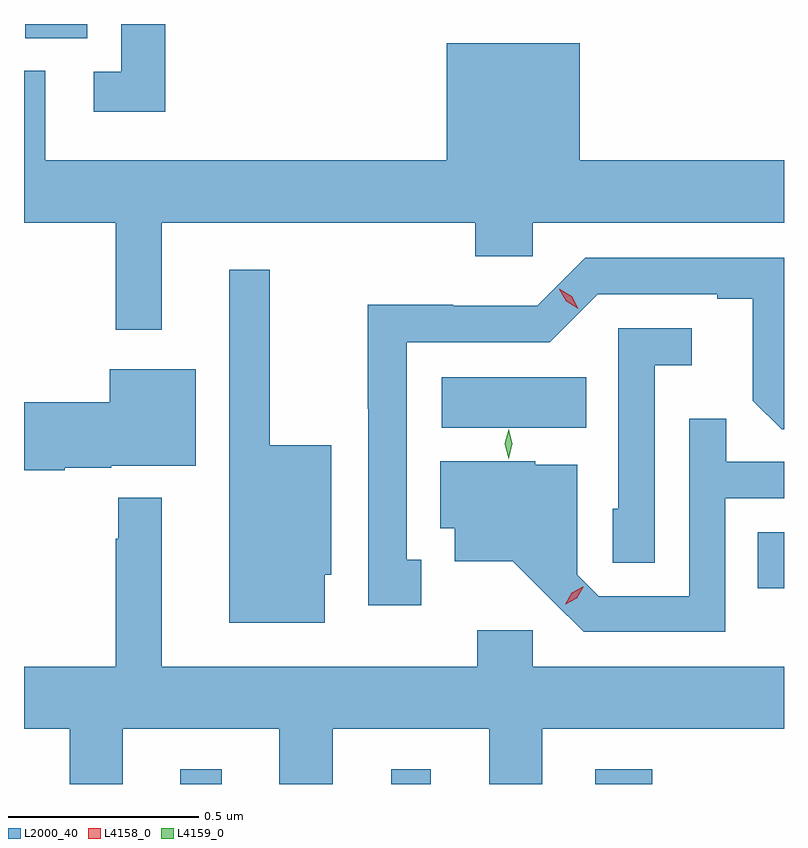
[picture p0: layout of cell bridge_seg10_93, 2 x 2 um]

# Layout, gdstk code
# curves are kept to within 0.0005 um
import gdstk
lib = gdstk.Library(unit=1e-6, precision=1e-09)
def R(c, l, rs):  # rectangles x0, y0, x1, y1
    for r in rs: c.add(gdstk.rectangle(r[:2], r[2:], *l))
def P(c, l, *ps):  # polygons
    for p in ps: c.add(gdstk.Polygon(p, *l))
L2000_40 = (2000, 40)
L4158_0 = (4158, 0)
L4159_0 = (4159, 0)

bridge_seg10_93 = lib.new_cell('bridge_seg10_93')
R(bridge_seg10_93, L2000_40, [(623.978,1294.843,624.088,1294.882), (624.533,1294.843,624.637,1294.882), (625.07,1294.843,625.22,1294.882), (625.498,1295.358,625.567,1295.505), (624.666,1295.78,625.046,1295.914), (623.57,1296.805,623.734,1296.843)])
P(bridge_seg10_93, L2000_40, [(623.939,1296.843),(623.823,1296.843),(623.823,1296.717),(623.751,1296.717),(623.751,1296.612),(623.939,1296.612)],
  [(623.929,1296.32),(624.755,1296.32),(624.755,1296.232),(624.906,1296.232),(624.906,1296.32),(625.567,1296.32),(625.567,1296.484),(625.03,1296.484),(625.03,1296.793),(624.68,1296.793),(624.68,1296.484),(623.623,1296.484),(623.623,1296.72),(623.567,1296.72),(623.567,1296.32),(623.808,1296.32),(623.808,1296.039),(623.929,1296.039)],
  [(624.613,1295.433),(624.574,1295.433),(624.574,1296.006),(624.951,1296.006),(625.077,1296.132),(625.391,1296.132),(625.391,1296.12),(625.485,1296.12),(625.485,1295.852),(625.561,1295.776),(625.567,1295.776),(625.567,1296.228),(625.044,1296.228),(624.918,1296.102),(624.696,1296.102),(624.696,1296.104),(624.471,1296.104),(624.471,1295.83),(624.473,1295.83),(624.473,1295.313),(624.613,1295.313)],
  [(624.358,1295.394),(624.376,1295.394),(624.376,1295.734),(624.214,1295.734),(624.214,1296.196),(624.107,1296.196),(624.107,1295.267),(624.358,1295.267)],
  [(625.227,1295.945),(625.324,1295.945),(625.324,1296.042),(625.131,1296.042),(625.131,1295.568),(625.116,1295.568),(625.116,1295.425),(625.227,1295.425)],
  [(623.674,1295.675),(623.796,1295.675),(623.796,1295.681),(624.019,1295.681),(624.019,1295.935),(623.792,1295.935),(623.792,1295.847),(623.567,1295.847),(623.567,1295.669),(623.674,1295.669)],
  [(625.413,1295.595),(625.567,1295.595),(625.567,1295.691),(625.415,1295.691),(625.415,1295.804),(625.317,1295.804),(625.317,1295.337),(625.08,1295.337),(625.023,1295.394),(625.023,1295.683),(624.912,1295.683),(624.912,1295.692),(624.662,1295.692),(624.662,1295.516),(624.701,1295.516),(624.701,1295.429),(624.853,1295.429),(625.04,1295.244),(625.413,1295.244)],
  [(623.827,1294.988),(624.239,1294.988),(624.239,1294.843),(624.379,1294.843),(624.379,1294.988),(624.791,1294.988),(624.791,1294.843),(624.931,1294.843),(624.931,1294.988),(625.567,1294.988),(625.567,1295.152),(624.906,1295.152),(624.906,1295.248),(624.76,1295.248),(624.76,1295.152),(623.929,1295.152),(623.929,1295.596),(623.815,1295.596),(623.815,1295.489),(623.808,1295.489),(623.808,1295.152),(623.567,1295.152),(623.567,1294.988),(623.687,1294.988),(623.687,1294.843),(623.827,1294.843)])
P(bridge_seg10_93, L4158_0, [(624.991,1295.316),(624.991,1295.316),(625.008,1295.346),(625.038,1295.362),(625.039,1295.362),(625.039,1295.361),(625.022,1295.332),(624.992,1295.316)],
  [(625.026,1296.094),(624.994,1296.113),(624.976,1296.145),(624.976,1296.146),(624.976,1296.146),(625.008,1296.127),(625.026,1296.094),(625.026,1296.094)])
P(bridge_seg10_93, L4159_0, [(624.842,1295.698),(624.842,1295.699),(624.832,1295.738),(624.842,1295.777),(624.842,1295.777),(624.842,1295.777),(624.852,1295.738),(624.842,1295.699)])

lib.write_gds('bridge_seg10_93.gds')
